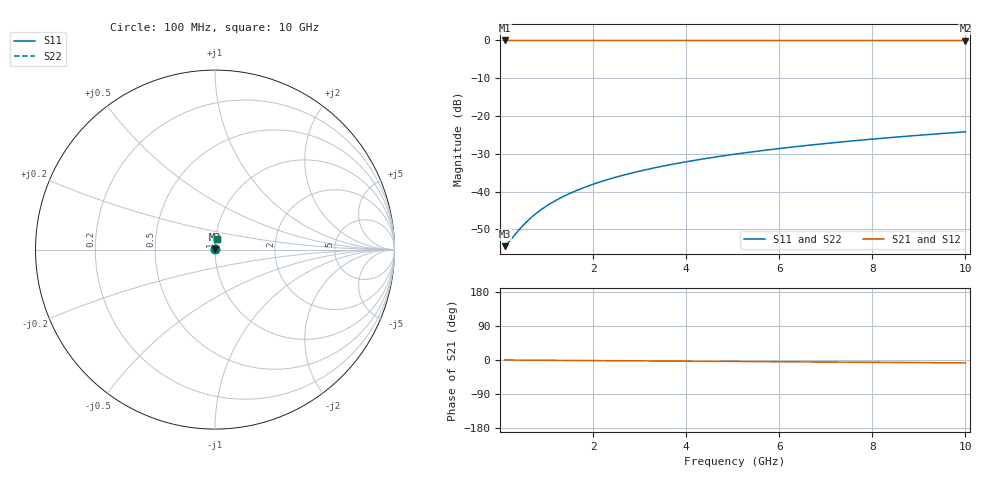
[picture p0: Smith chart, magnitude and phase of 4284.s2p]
# Hz S RI R 50.00
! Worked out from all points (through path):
!   100 points, 100 MHz to 10 GHz, reference 50 ohm
!   highest |S21| = -0.02 dB at 100 MHz (marker M1); lowest = 0.0 dB at 10 GHz (marker M2)
!   group delay of S21, straight-line fit = 2.1 ps
!   lowest |S11| = -54.4 dB at 100 MHz (marker M3), VSWR 1.00, Z = 50.2 + j0.0619 ohm
!   |S11| at or under -10 dB: start of sweep to end of sweep
!   |S22| runs from -54.4 to -24.2 dB; largest |S21 - S12| = 0
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1e8  0.0018 0.000617  0.9982 -0.00132  0.9982 -0.00132  0.0018 0.000617
2e8  0.00181 0.00123  0.9982 -0.00264  0.9982 -0.00264  0.00181 0.00123
4e8  0.00184 0.00247  0.9982 -0.00527  0.9982 -0.00527  0.00184 0.00247
5e8  0.00185 0.00308  0.9981 -0.00659  0.9981 -0.00659  0.00185 0.00308
6e8  0.00187 0.0037  0.9981 -0.00791  0.9981 -0.00791  0.00187 0.0037
7e8  0.00188 0.00432  0.9981 -0.00922  0.9981 -0.00922  0.00188 0.00432
9e8  0.00192 0.00555  0.9981 -0.0119  0.9981 -0.0119  0.00192 0.00555
1.1e9  0.00196 0.00678  0.998 -0.0145  0.998 -0.0145  0.00196 0.00678
1.3e9  0.002 0.00802  0.9979 -0.0171  0.9979 -0.0171  0.002 0.00802
1.5e9  0.00205 0.00925  0.9979 -0.0198  0.9979 -0.0198  0.00205 0.00925
1.8e9  0.00214 0.0111  0.9978 -0.0237  0.9978 -0.0237  0.00214 0.0111
2.1e9  0.00224 0.0129  0.9976 -0.0277  0.9976 -0.0277  0.00224 0.0129
2.5e9  0.0024 0.0154  0.9974 -0.0329  0.9974 -0.0329  0.0024 0.0154
2.9e9  0.00258 0.0179  0.9972 -0.0382  0.9972 -0.0382  0.00258 0.0179
3.4e9  0.00285 0.0209  0.9968 -0.0448  0.9968 -0.0448  0.00285 0.0209
4.2e9  0.00336 0.0258  0.9962 -0.0553  0.9962 -0.0553  0.00336 0.0258
5.1e9  0.00405 0.0314  0.9953 -0.0672  0.9953 -0.0672  0.00405 0.0314
5.9e9  0.00478 0.0362  0.9943 -0.0777  0.9943 -0.0777  0.00478 0.0362
6.7e9  0.00561 0.0411  0.9932 -0.0882  0.9932 -0.0882  0.00561 0.0411
7.5e9  0.00654 0.046  0.992 -0.0987  0.992 -0.0987  0.00654 0.046
8.4e9  0.00772 0.0514  0.9905 -0.1104  0.9905 -0.1104  0.00772 0.0514
1e10  0.0101 0.061  0.9873 -0.1313  0.9873 -0.1313  0.0101 0.061
